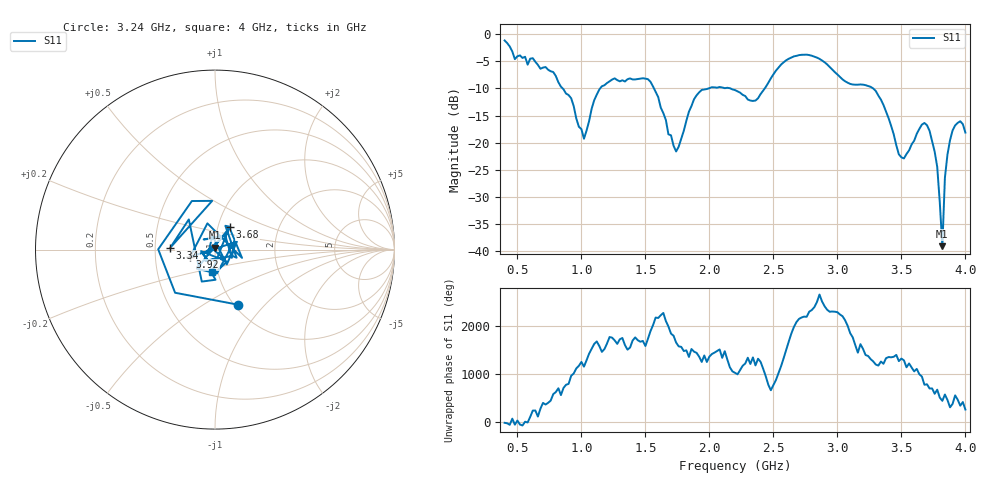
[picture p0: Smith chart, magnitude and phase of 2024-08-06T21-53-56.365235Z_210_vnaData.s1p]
!Created with skrf (http://scikit-rf.org).
# Hz S RI R 50.0
!freq ReS11 ImS11
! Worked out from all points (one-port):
!   181 points, 400 MHz to 4 GHz, reference 50 ohm
!   lowest |S11| = -39.1 dB at 3.82 GHz (marker M1), VSWR 1.02, Z = 50.1 + j1.1 ohm
!   |S11| at or under -10 dB: 853.9 MHz to 1.146 GHz (292.2 MHz wide, 29.2 % of centre); 1.567 GHz to 1.992 GHz (424.6 MHz wide, 23.9 % of centre); 3.28 GHz to end of sweep (the widest 3 of 4)
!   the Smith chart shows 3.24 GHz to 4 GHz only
!   S11 on the Smith chart (normalised r, x): 3.24 GHz: 1.04, -0.72; 3.34 GHz: 0.60, +0.01; 3.68 GHz: 1.14, +0.30; 3.92 GHz: 0.75, -0.06; 4 GHz: 0.94, -0.23
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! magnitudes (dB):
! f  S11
! 400 MHz  -1.1
! 480 MHz  -4.6
! 620 MHz  -4.4
! 860 MHz  -10.1
! 1.02 GHz  -19.3
! 1.14 GHz  -10.2
! 1.3 GHz  -8.7
! 1.54 GHz  -8.8
! 1.68 GHz  -18.5
! 1.76 GHz  -20.8
! 1.92 GHz  -10.7
! 2.2 GHz  -10.3
! 2.36 GHz  -12.2
! 2.66 GHz  -4.1
! 2.84 GHz  -4.3
! 3.1 GHz  -9.2
! 3.24 GHz  -9.5
! 3.34 GHz  -12.1
! 3.48 GHz  -22.2
! 3.56 GHz  -21.4
! 3.68 GHz  -16.4
! 3.72 GHz  -17.8
! 3.78 GHz  -24.5
! 3.82 GHz  -39.1
! 3.84 GHz  -26.5
! 3.88 GHz  -19.6
! 3.92 GHz  -16.8
! 4 GHz  -18.1
